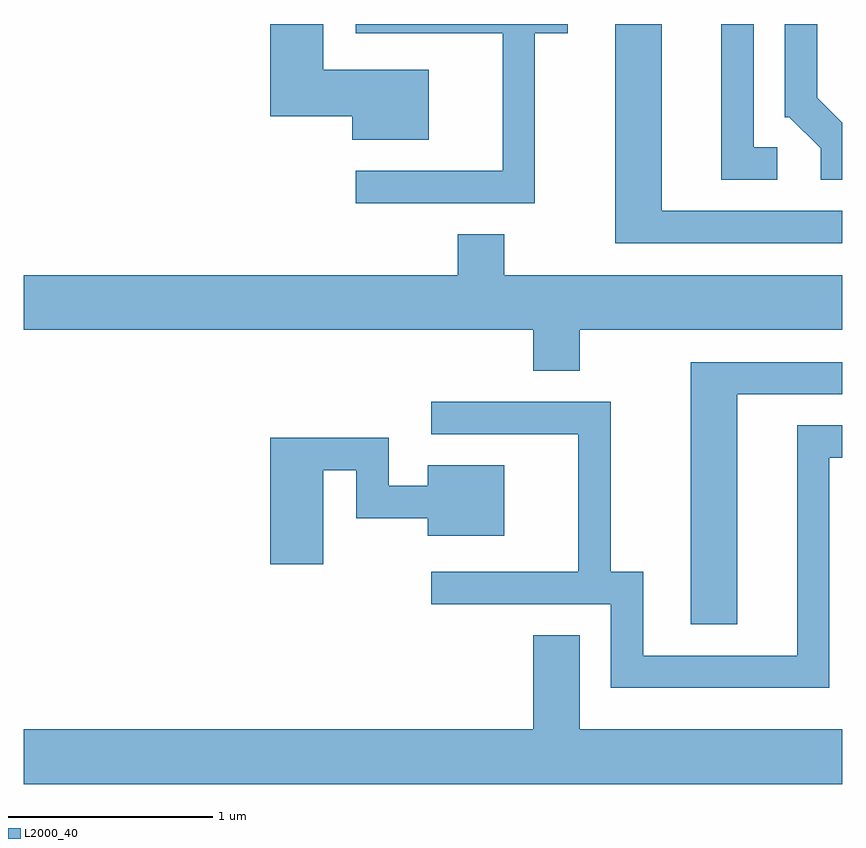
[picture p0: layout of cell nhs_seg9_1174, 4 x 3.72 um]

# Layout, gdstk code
import gdstk
lib = gdstk.Library(unit=1e-6, precision=1e-09)
def P(c, l, *ps):  # polygons
    for p in ps: c.add(gdstk.Polygon(p, *l))
L2000_40 = (2000, 40)

nhs_seg9_1174 = lib.new_cell('nhs_seg9_1174')
P(nhs_seg9_1174, L2000_40, [(223.611,1983.95),(223.489,1984.072),(223.489,1984.432),(223.331,1984.432),(223.331,1983.976),(223.354,1983.976),(223.506,1983.824),(223.506,1983.671),(223.611,1983.671)],
  [(222.109,1984.386),(222.269,1984.386),(222.269,1984.432),(221.233,1984.432),(221.233,1984.386),(221.951,1984.386),(221.951,1983.714),(221.233,1983.714),(221.233,1983.556),(222.109,1983.556)],
  [(223.293,1983.829),(223.179,1983.829),(223.179,1984.432),(223.021,1984.432),(223.021,1983.671),(223.293,1983.671)],
  [(223.611,1983.519),(222.729,1983.519),(222.729,1984.432),(222.501,1984.432),(222.501,1983.361),(223.611,1983.361)],
  [(221.589,1984.209),(221.074,1984.209),(221.074,1984.432),(220.816,1984.432),(220.816,1983.981),(221.216,1983.981),(221.216,1983.866),(221.589,1983.866)],
  [(222.329,1982.936),(223.611,1982.936),(223.611,1983.204),(221.959,1983.204),(221.959,1983.404),(221.731,1983.404),(221.731,1983.204),(219.611,1983.204),(219.611,1982.936),(222.101,1982.936),(222.101,1982.736),(222.329,1982.736)],
  [(223.099,1982.621),(223.611,1982.621),(223.611,1982.779),(222.871,1982.779),(222.871,1981.496),(223.099,1981.496)],
  [(223.549,1982.311),(223.611,1982.311),(223.611,1982.469),(223.391,1982.469),(223.391,1981.344),(222.639,1981.344),(222.639,1981.754),(222.479,1981.754),(222.479,1982.584),(221.603,1982.584),(221.603,1982.426),(222.321,1982.426),(222.321,1981.754),(221.603,1981.754),(221.603,1981.596),(222.481,1981.596),(222.481,1981.186),(223.549,1981.186)],
  [(221.074,1982.251),(221.236,1982.251),(221.236,1982.016),(221.586,1982.016),(221.586,1981.931),(221.959,1981.931),(221.959,1982.274),(221.586,1982.274),(221.586,1982.174),(221.394,1982.174),(221.394,1982.409),(220.816,1982.409),(220.816,1981.791),(221.074,1981.791)],
  [(223.611,1980.984),(222.329,1980.984),(222.329,1981.444),(222.101,1981.444),(222.101,1980.984),(219.611,1980.984),(219.611,1980.716),(223.611,1980.716)])

lib.write_gds('nhs_seg9_1174.gds')
